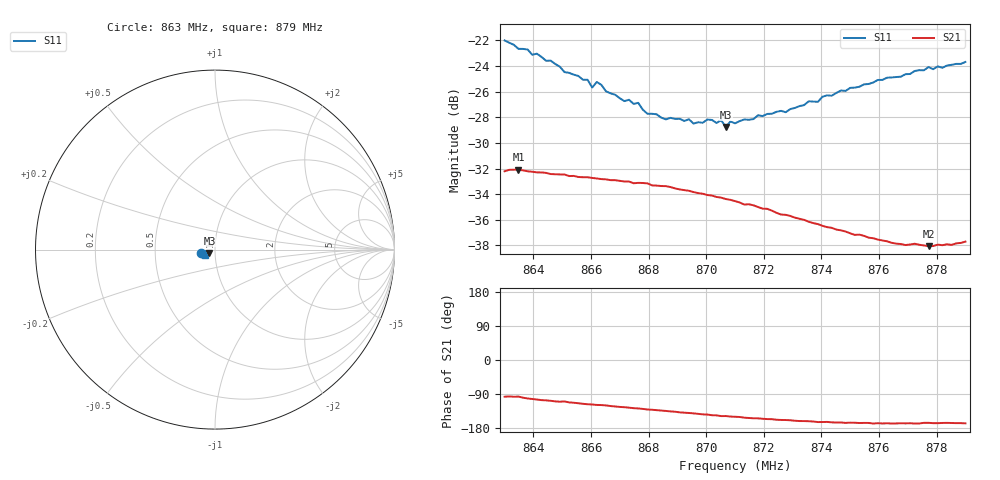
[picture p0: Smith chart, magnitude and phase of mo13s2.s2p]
# HZ S RI R 50
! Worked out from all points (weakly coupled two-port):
!   101 points, 863 MHz to 879 MHz, reference 50 ohm
!   highest |S21| = -32.09 dB at 863.48 MHz (marker M1); lowest = -38.1 dB at 877.72 MHz (marker M2)
!   lowest |S11| = -28.8 dB at 870.68 MHz (marker M3), VSWR 1.08, Z = 46.9 - j1.77 ohm
!   |S11| at or under -10 dB: start of sweep to end of sweep
!   S12 and S22 are empty: the file has one direction only
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8.63e8  -0.0772 -0.0183  -0.00292 -0.0243  0 0  0 0
8.6348e8  -0.0714 -0.0176  -0.00283 -0.0247  0 0  0 0
8.6412e8  -0.0696 -0.0113  -0.00598 -0.0235  0 0  0 0
8.6572e8  -0.055 -0.00897  -0.01 -0.0209  0 0  0 0
8.6588e8  -0.0551 -0.00812  -0.0105 -0.0207  0 0  0 0
8.6604e8  -0.0515 -0.00681  -0.0106 -0.0205  0 0  0 0
8.662e8  -0.0539 -0.00915  -0.011 -0.0202  0 0  0 0
8.6652e8  -0.0493 -0.00988  -0.0113 -0.0198  0 0  0 0
8.6716e8  -0.0452 -0.00869  -0.0127 -0.0184  0 0  0 0
8.6764e8  -0.044 -0.0107  -0.0135 -0.0174  0 0  0 0
8.6796e8  -0.0398 -0.0102  -0.0143 -0.0167  0 0  0 0
8.6844e8  -0.0379 -0.0116  -0.0148 -0.0156  0 0  0 0
8.694e8  -0.0358 -0.0156  -0.0157 -0.0133  0 0  0 0
8.6956e8  -0.0344 -0.0152  -0.0158 -0.0128  0 0  0 0
8.7052e8  -0.0331 -0.0202  -0.0164 -0.0102  0 0  0 0
8.7068e8  -0.0312 -0.0188  -0.0162 -0.0101  0 0  0 0
8.7084e8  -0.0328 -0.0199  -0.0163 -0.00971  0 0  0 0
8.71e8  -0.0314 -0.0209  -0.0162 -0.00942  0 0  0 0
8.7372e8  -0.0339 -0.0309  -0.0147 -0.00466  0 0  0 0
8.7644e8  -0.0453 -0.0345  -0.0126 -0.00278  0 0  0 0
8.7772e8  -0.0529 -0.0333  -0.0121 -0.00308  0 0  0 0
8.79e8  -0.0583 -0.0296  -0.0127 -0.00289  0 0  0 0
